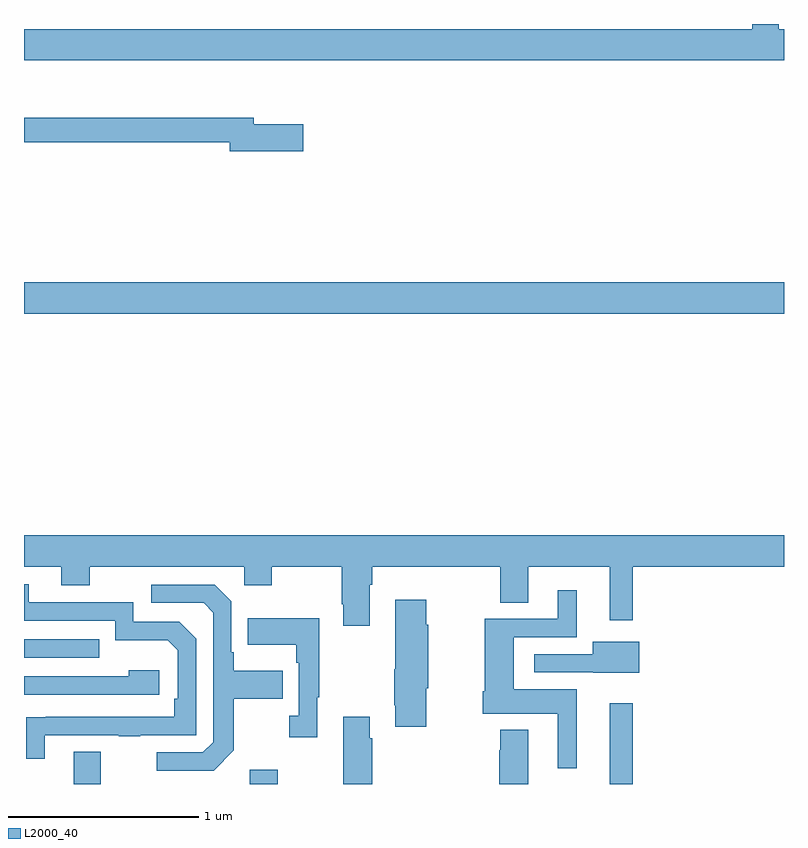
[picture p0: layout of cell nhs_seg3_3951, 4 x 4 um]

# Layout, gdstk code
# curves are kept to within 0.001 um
import gdstk
lib = gdstk.Library(unit=1e-6, precision=1e-09)
def R(c, l, rs):  # rectangles x0, y0, x1, y1
    for r in rs: c.add(gdstk.rectangle(r[:2], r[2:], *l))
def P(c, l, *ps):  # polygons
    for p in ps: c.add(gdstk.Polygon(p, *l))
L2000_40 = (2000, 40)

nhs_seg3_3951 = lib.new_cell('nhs_seg3_3951')
R(nhs_seg3_3951, L2000_40, [(315.263,738.4,315.403,738.571), (316.187,738.4,316.335,738.475), (318.083,738.4,318.205,738.826), (315,739.065,315.395,739.161), (315,740.876,319,741.04)])
P(nhs_seg3_3951, L2000_40, [(319,742.372),(318.973,742.372),(318.973,742.4),(318.833,742.4),(318.833,742.372),(315,742.372),(315,742.208),(319,742.208)],
  [(316.471,741.873),(316.21,741.873),(316.21,741.907),(315,741.907),(315,741.778),(316.082,741.778),(316.082,741.731),(316.471,741.731)],
  [(315,739.544),(315.197,739.544),(315.197,739.445),(315.345,739.445),(315.345,739.544),(316.158,739.544),(316.158,739.445),(316.305,739.445),(316.305,739.544),(316.672,739.544),(316.672,739.345),(316.679,739.345),(316.679,739.233),(316.819,739.233),(316.819,739.448),(316.832,739.448),(316.832,739.544),(317.506,739.544),(317.506,739.354),(317.653,739.354),(317.653,739.544),(318.083,739.544),(318.083,739.263),(318.205,739.263),(318.205,739.544),(319,739.544),(319,739.708),(315,739.708)],
  [(315.109,738.657),(315.499,738.657),(315.499,738.652),(315.611,738.652),(315.611,738.657),(315.906,738.657),(315.906,739.164),(315.816,739.254),(315.576,739.254),(315.576,739.356),(315.025,739.356),(315.025,739.452),(315,739.452),(315,739.26),(315.48,739.26),(315.48,739.157),(315.757,739.157),(315.81,739.104),(315.81,738.85),(315.79,738.85),(315.79,738.753),(315.013,738.752),(315.013,738.534),(315.109,738.534)],
  [(316.105,738.577),(316.105,738.85),(316.361,738.85),(316.361,738.997),(316.105,738.997),(316.105,739.093),(316.092,739.093),(316.092,739.362),(316.005,739.449),(315.669,739.449),(315.669,739.353),(315.945,739.353),(315.996,739.302),(315.996,738.621),(315.942,738.567),(315.699,738.567),(315.699,738.471),(315.999,738.471)],
  [(317.908,738.898),(317.578,738.898),(317.578,739.173),(317.908,739.173),(317.908,739.42),(317.81,739.42),(317.81,739.269),(317.425,739.269),(317.425,738.888),(317.414,738.888),(317.414,738.77),(317.81,738.77),(317.81,738.483),(317.908,738.483)],
  [(317.118,738.903),(317.128,738.903),(317.128,739.239),(317.118,739.239),(317.118,739.369),(316.955,739.369),(316.955,739.003),(316.948,739.003),(316.948,738.814),(316.955,738.814),(316.955,738.702),(317.118,738.702)],
  [(316.543,738.857),(316.555,738.857),(316.555,739.273),(316.177,739.273),(316.177,739.133),(316.434,739.133),(316.434,739.037),(316.446,739.037),(316.446,738.758),(316.395,738.758),(316.395,738.645),(316.543,738.645)],
  [(318.238,739.15),(317.993,739.15),(317.993,739.083),(317.685,739.083),(317.685,738.987),(317.997,738.987),(317.997,738.986),(318.238,738.986)],
  [(315.712,739),(315.551,739),(315.551,738.966),(315,738.966),(315,738.87),(315.712,738.87)],
  [(316.832,738.641),(316.819,738.641),(316.819,738.754),(316.679,738.754),(316.679,738.4),(316.832,738.4)],
  [(317.653,738.685),(317.506,738.685),(317.506,738.578),(317.501,738.578),(317.501,738.4),(317.653,738.4)])

lib.write_gds('nhs_seg3_3951.gds')
